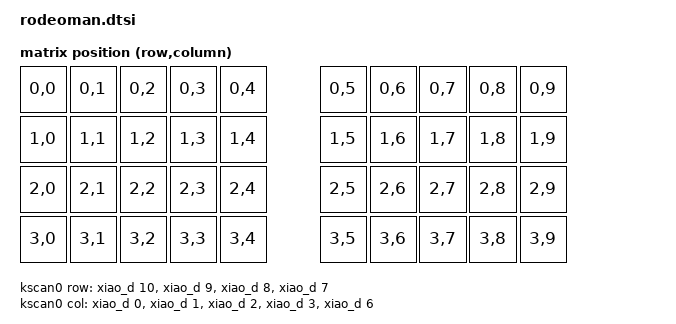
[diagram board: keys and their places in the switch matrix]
#include <dt-bindings/zmk/matrix_transform.h>
#include <dt-bindings/zmk/input_transform.h>
#include <physical_layouts.dtsi>

/ {
    physical_layout0: physical_layout_0 {
        compatible = "zmk,physical-layout";
        display-name = "default";

        kscan = <&kscan0>;
        transform = <&default_transform>;

        keys  //                     w   h    x    y     rot    rx    ry
            = <&key_physical_attrs 100 100    0    0       0     0     0>
            , <&key_physical_attrs 100 100  100    0       0     0     0>
            , <&key_physical_attrs 100 100  200    0       0     0     0>
            , <&key_physical_attrs 100 100  300    0       0     0     0>
            , <&key_physical_attrs 100 100  400    0       0     0     0>
            , <&key_physical_attrs 100 100  600    0       0     0     0>
            , <&key_physical_attrs 100 100  700    0       0     0     0>
            , <&key_physical_attrs 100 100  800    0       0     0     0>
            , <&key_physical_attrs 100 100  900    0       0     0     0>
            , <&key_physical_attrs 100 100 1000    0       0     0     0>
            , <&key_physical_attrs 100 100    0  100       0     0     0>
            , <&key_physical_attrs 100 100  100  100       0     0     0>
            , <&key_physical_attrs 100 100  200  100       0     0     0>
            , <&key_physical_attrs 100 100  300  100       0     0     0>
            , <&key_physical_attrs 100 100  400  100       0     0     0>
            , <&key_physical_attrs 100 100  600  100       0     0     0>
            , <&key_physical_attrs 100 100  700  100       0     0     0>
            , <&key_physical_attrs 100 100  800  100       0     0     0>
            , <&key_physical_attrs 100 100  900  100       0     0     0>
            , <&key_physical_attrs 100 100 1000  100       0     0     0>
            , <&key_physical_attrs 100 100    0  200       0     0     0>
            , <&key_physical_attrs 100 100  100  200       0     0     0>
            , <&key_physical_attrs 100 100  200  200       0     0     0>
            , <&key_physical_attrs 100 100  300  200       0     0     0>
            , <&key_physical_attrs 100 100  400  200       0     0     0>
            , <&key_physical_attrs 100 100  600  200       0     0     0>
            , <&key_physical_attrs 100 100  700  200       0     0     0>
            , <&key_physical_attrs 100 100  800  200       0     0     0>
            , <&key_physical_attrs 100 100  900  200       0     0     0>
            , <&key_physical_attrs 100 100 1000  200       0     0     0>
            , <&key_physical_attrs 100 100    0  300       0     0     0>
            , <&key_physical_attrs 100 100  100  300       0     0     0>
            , <&key_physical_attrs 100 100  200  300       0     0     0>
            , <&key_physical_attrs 100 100  300  300       0     0     0>
            , <&key_physical_attrs 100 100  400  300       0     0     0>
            , <&key_physical_attrs 100 100  600  300       0     0     0>
            , <&key_physical_attrs 100 100  700  300       0     0     0>
            , <&key_physical_attrs 100 100  800  300       0     0     0>
            , <&key_physical_attrs 100 100  900  300       0     0     0>
            , <&key_physical_attrs 100 100 1000  300       0     0     0>
            ;
    };

    chosen {
        zmk,kscan = &kscan0;
        zmk,matrix_transform = &default_transform;
        zmk,physical-layout = &physical_layout0;
    };

    default_transform: keymap_transform0 {
        compatible = "zmk,matrix-transform";
        columns = <10>;
        rows = <4>;
        map = <
          RC(0,0) RC(0,1) RC(0,2) RC(0,3) RC(0,4) RC(0,5) RC(0,6) RC(0,7) RC(0,8) RC(0,9)
          RC(1,0) RC(1,1) RC(1,2) RC(1,3) RC(1,4) RC(1,5) RC(1,6) RC(1,7) RC(1,8) RC(1,9)
          RC(2,0) RC(2,1) RC(2,2) RC(2,3) RC(2,4) RC(2,5) RC(2,6) RC(2,7) RC(2,8) RC(2,9)
          RC(3,0) RC(3,1) RC(3,2) RC(3,3) RC(3,4) RC(3,5) RC(3,6) RC(3,7) RC(3,8) RC(3,9)
        >;
    };

    kscan0: kscan0 {
        compatible = "zmk,kscan-gpio-matrix";
        diode-direction = "col2row";
        wakeup-source;

        col-gpios
            = <&xiao_d 0 GPIO_ACTIVE_HIGH>
            , <&xiao_d 1 GPIO_ACTIVE_HIGH>
            , <&xiao_d 2 GPIO_ACTIVE_HIGH>
            , <&xiao_d 3 GPIO_ACTIVE_HIGH>
            , <&xiao_d 6 GPIO_ACTIVE_HIGH>
            ;

        row-gpios
            = <&xiao_d 10 (GPIO_ACTIVE_HIGH | GPIO_PULL_DOWN)>
            , <&xiao_d 9 (GPIO_ACTIVE_HIGH | GPIO_PULL_DOWN)>
            , <&xiao_d 8 (GPIO_ACTIVE_HIGH | GPIO_PULL_DOWN)>
            , <&xiao_d 7 (GPIO_ACTIVE_HIGH | GPIO_PULL_DOWN)>
            ;

    };

    split_inputs {
        #address-cells = <1>;
        #size-cells = <0>;

        trackball_split: trackball_split@0 {
            compatible = "zmk,input-split";
            reg = <0>;
        };
    };

    trackball_input_listener_0: trackball_input_listener_0 {
        compatible = "zmk,input-listener";
        status = "disabled";
    };

    trackball_input_listener_1: trackball_input_listener_1 {
        compatible = "zmk,input-listener";
        status = "disabled";
        device = <&trackball_split>;
    };

};

&pinctrl {
    i2c0_default: i2c0_default {
        group1 {
            psels = <NRF_PSEL(TWIM_SDA, 0, 4)>,
                <NRF_PSEL(TWIM_SCL, 0, 5)>;
        };
    };

    i2c0_sleep: i2c0_sleep {
        group1 {
            psels = <NRF_PSEL(TWIM_SDA, 0, 4)>,
                <NRF_PSEL(TWIM_SCL, 0, 5)>;
            low-power-enable;
        };
    };
};

&i2c0 {
    compatible = "nordic,nrf-twim";
    status = "okay";
    pinctrl-0 = <&i2c0_default>;
    pinctrl-1 = <&i2c0_sleep>;
    pinctrl-names = "default", "sleep";
    clock-frequency = <I2C_BITRATE_FAST>;
    
    trackball: trackball@a {
        compatible = "palette,az1uball";
        reg = <0x0A>;
        /* AZ1UBALL V2: INT pin (P0.10) */
        int-gpios = <&gpio0 10 GPIO_ACTIVE_HIGH>;
        status = "okay";
    };
};

/* P0.09/P0.10 default to NFC antenna pins on the nRF52840 and won't behave
 * as plain GPIOs (e.g. for the AZ1UBALL INT line on P0.10) unless released
 * here. */
&uicr {
    nfct-pins-as-gpios;
};
